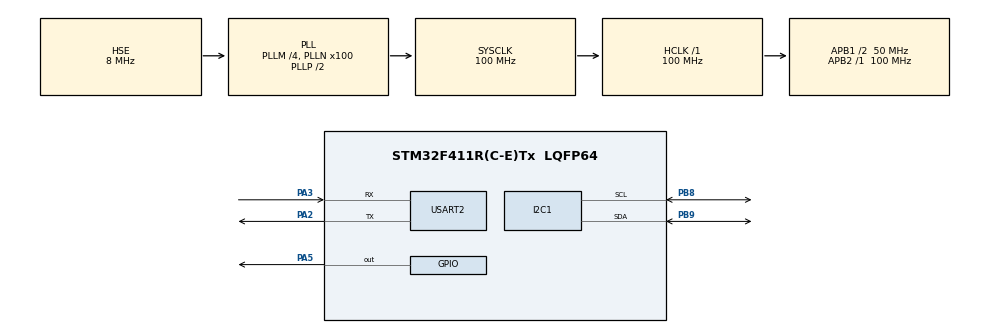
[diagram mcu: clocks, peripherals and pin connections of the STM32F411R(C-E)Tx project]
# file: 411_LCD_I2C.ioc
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Mcu.Family=STM32F4
Mcu.Name=STM32F411R(C-E)Tx
Mcu.Package=LQFP64
NVIC.PriorityGroup=NVIC_PRIORITYGROUP_4
PA2.Mode=Asynchronous
PA2.Signal=USART2_TX
PA3.Mode=Asynchronous
PA3.Signal=USART2_RX
PA5.GPIO_Speed=GPIO_SPEED_FREQ_HIGH
PA5.Signal=GPIO_Output
PB8.Mode=I2C
PB8.Signal=I2C1_SCL
PB9.Mode=I2C
PB9.Signal=I2C1_SDA
PH0\ -\ OSC_IN.Mode=HSE-External-Oscillator
PH0\ -\ OSC_IN.Signal=RCC_OSC_IN
PH1\ -\ OSC_OUT.Mode=HSE-External-Oscillator
PH1\ -\ OSC_OUT.Signal=RCC_OSC_OUT
ProjectManager.HeapSize=0x200
ProjectManager.StackSize=0x400
ProjectManager.TargetToolchain=MDK-ARM V5
RCC.48MHZClocksFreq_Value=50000000
RCC.AHBFreq_Value=100000000
RCC.APB1CLKDivider=RCC_HCLK_DIV2
RCC.APB1Freq_Value=50000000
RCC.APB1TimFreq_Value=100000000
RCC.APB2Freq_Value=100000000
RCC.APB2TimFreq_Value=100000000
RCC.CortexFreq_Value=100000000
RCC.HCLKFreq_Value=100000000
RCC.HSE_VALUE=8000000
RCC.HSI_VALUE=16000000
RCC.LSE_VALUE=32768
RCC.PLLM=4
RCC.PLLN=100
RCC.PLLSourceVirtual=RCC_PLLSOURCE_HSE
RCC.SYSCLKFreq_VALUE=100000000
RCC.SYSCLKSource=RCC_SYSCLKSOURCE_PLLCLK
RCC.VCOOutputFreq_Value=200000000
USART2.VirtualMode=VM_ASYNC
board=411_LCD_I2C

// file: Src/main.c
/* USER CODE BEGIN Header */
/**
  ******************************************************************************
  * @file           : main.c
  * @brief          : Main program body
  ******************************************************************************
  ** This notice applies to any and all portions of this file
  * that are not between comment pairs USER CODE BEGIN and
  * USER CODE END. Other portions of this file, whether
  * inserted by the user or by software development tools
  * are owned by their respective copyright owners.
  *
  * COPYRIGHT(c) 2019 STMicroelectronics
  *
  * Redistribution and use in source and binary forms, with or without modification,
  * are permitted provided that the following conditions are met:
  *   1. Redistributions of source code must retain the above copyright notice,
  *      this list of conditions and the following disclaimer.
  *   2. Redistributions in binary form must reproduce the above copyright notice,
  *      this list of conditions and the following disclaimer in the documentation
  *      and/or other materials provided with the distribution.
  *   3. Neither the name of STMicroelectronics nor the names of its contributors
  *      may be used to endorse or promote products derived from this software
  *      without specific prior written permission.
  *
  * THIS SOFTWARE IS PROVIDED BY THE COPYRIGHT HOLDERS AND CONTRIBUTORS "AS IS"
  * AND ANY EXPRESS OR IMPLIED WARRANTIES, INCLUDING, BUT NOT LIMITED TO, THE
  * IMPLIED WARRANTIES OF MERCHANTABILITY AND FITNESS FOR A PARTICULAR PURPOSE ARE
  * DISCLAIMED. IN NO EVENT SHALL THE COPYRIGHT HOLDER OR CONTRIBUTORS BE LIABLE
  * FOR ANY DIRECT, INDIRECT, INCIDENTAL, SPECIAL, EXEMPLARY, OR CONSEQUENTIAL
  * DAMAGES (INCLUDING, BUT NOT LIMITED TO, PROCUREMENT OF SUBSTITUTE GOODS OR
  * SERVICES; LOSS OF USE, DATA, OR PROFITS; OR BUSINESS INTERRUPTION) HOWEVER
  * CAUSED AND ON ANY THEORY OF LIABILITY, WHETHER IN CONTRACT, STRICT LIABILITY,
  * OR TORT (INCLUDING NEGLIGENCE OR OTHERWISE) ARISING IN ANY WAY OUT OF THE USE
  * OF THIS SOFTWARE, EVEN IF ADVISED OF THE POSSIBILITY OF SUCH DAMAGE.
  *
  ******************************************************************************
  */
/* USER CODE END Header */

#include "main.h"
#include "i2c.h"
#include "usart.h"
#include "gpio.h"

/* USER CODE BEGIN Includes */
#include "i2c-lcd.h"
#include <string.h>
#include <stdio.h>
/* USER CODE END Includes */

/* USER CODE BEGIN PV */
/* Private variables ---------------------------------------------------------*/

/* USER CODE END PV */

void SystemClock_Config(void);
/* USER CODE BEGIN PFP */
/* Private function prototypes -----------------------------------------------*/
void I2C1_ADDR_Chk(void);
/* USER CODE END PFP */

int main(void)
{

  /* MCU Configuration--------------------------------------------------------*/

  /* Reset of all peripherals, Initializes the Flash interface and the Systick. */
  HAL_Init();

  /* Configure the system clock */
  SystemClock_Config();

  /* Initialize all configured peripherals */
  MX_GPIO_Init();
  MX_I2C1_Init();
  MX_USART2_UART_Init();
  /* USER CODE BEGIN 2 */
	I2C1_ADDR_Chk();
	lcd_init ();
	HAL_Delay(500);
	lcd_send_cmd (0x01);  // clear the display
	HAL_Delay(500);

	lcd_send_string ("HELLO WORLD !!");
	HAL_Delay(500);

	lcd_send_cmd (0x01);  // clear the display
	HAL_Delay(500);
  /* USER CODE END 2 */

  /* Infinite loop */
  while (1)
  {

    /* USER CODE BEGIN 3 */
		lcd_send_cmd (0x80);  // cursor goes to line:1 col:1

		lcd_send_string ("subscribe"); //display string

		lcd_send_cmd (0xc0); // cursor goes line:2 col:1

		lcd_send_string ("to this channel"); //diaplay string

		HAL_Delay (2000);  // wait for 2 sec

		lcd_send_cmd (0x01);  // clear the display

		HAL_GPIO_TogglePin(GPIOA, GPIO_PIN_5);

		HAL_Delay (1000);

		//Display Line 1
		for(int i=0; i<=15; i++)
		{
			lcd_send_cmd (0x80+i);
			lcd_send_string ("1");
			HAL_Delay(200);

		}

		//Display Line 2
		for(int i=0; i<=15; i++)
		{

			lcd_send_cmd (0xc0+i);
			lcd_send_string ("2");
			HAL_Delay(200);

		}

		lcd_send_cmd (0x01);  // clear the display
		HAL_Delay(500);

		lcd_send_cmd (0xc0+0xd);
		lcd_send_string ("XYZ");
		HAL_Delay(500);

		//Shift Left
		lcd_send_cmd (0x18);
		HAL_Delay(500);

		//Shift Left
		lcd_send_cmd (0x18);
		HAL_Delay(500);

		//Shift Left
		lcd_send_cmd (0x18);
		HAL_Delay(500);

		//Shift Right
		lcd_send_cmd (0x1c);
		HAL_Delay(500);

		//Shift Right
		lcd_send_cmd (0x1c);
		HAL_Delay(500);

		//Shift Right
		lcd_send_cmd (0x1c);
		HAL_Delay(500);

  }
  /* USER CODE END 3 */
}

void SystemClock_Config(void)
{
  RCC_OscInitTypeDef RCC_OscInitStruct = {0};
  RCC_ClkInitTypeDef RCC_ClkInitStruct = {0};

  /**Configure the main internal regulator output voltage
  */
  __HAL_RCC_PWR_CLK_ENABLE();
  __HAL_PWR_VOLTAGESCALING_CONFIG(PWR_REGULATOR_VOLTAGE_SCALE1);
  /**Initializes the CPU, AHB and APB busses clocks
  */
  RCC_OscInitStruct.OscillatorType = RCC_OSCILLATORTYPE_HSE;
  RCC_OscInitStruct.HSEState = RCC_HSE_ON;
  RCC_OscInitStruct.PLL.PLLState = RCC_PLL_ON;
  RCC_OscInitStruct.PLL.PLLSource = RCC_PLLSOURCE_HSE;
  RCC_OscInitStruct.PLL.PLLM = 4;
  RCC_OscInitStruct.PLL.PLLN = 100;
  RCC_OscInitStruct.PLL.PLLP = RCC_PLLP_DIV2;
  RCC_OscInitStruct.PLL.PLLQ = 4;
  if (HAL_RCC_OscConfig(&RCC_OscInitStruct) != HAL_OK)
  {
    Error_Handler();
  }
  /**Initializes the CPU, AHB and APB busses clocks
  */
  RCC_ClkInitStruct.ClockType = RCC_CLOCKTYPE_HCLK|RCC_CLOCKTYPE_SYSCLK
                              |RCC_CLOCKTYPE_PCLK1|RCC_CLOCKTYPE_PCLK2;
  RCC_ClkInitStruct.SYSCLKSource = RCC_SYSCLKSOURCE_PLLCLK;
  RCC_ClkInitStruct.AHBCLKDivider = RCC_SYSCLK_DIV1;
  RCC_ClkInitStruct.APB1CLKDivider = RCC_HCLK_DIV2;
  RCC_ClkInitStruct.APB2CLKDivider = RCC_HCLK_DIV1;

  if (HAL_RCC_ClockConfig(&RCC_ClkInitStruct, FLASH_LATENCY_3) != HAL_OK)
  {
    Error_Handler();
  }
}

/* USER CODE BEGIN 4 */
/**
  * @brief Check I2C1 slave addresses. Show result via UART2.
  * @param None
  * @retval None
  */
void I2C1_ADDR_Chk(void)
{
	uint8_t testAddr;
	uint8_t testData;
	char str[30];

	for (testAddr=0; testAddr<=127; testAddr++)
	{
		if ( HAL_OK == HAL_I2C_Master_Transmit(&hi2c1, testAddr<<1, &testData, 1, 200))
		{
			sprintf(str, "=====> Address 0x%02X is found. <=====\r\n", testAddr);
			HAL_UART_Transmit(&huart2, (uint8_t *) str, strlen(str), 300);

		}	else {
			sprintf(str, "Address 0x%02X is not found.\r\n", testAddr);
			HAL_UART_Transmit(&huart2, (uint8_t *) str, strlen(str), 300);

		}

		//if slave device is quite slow use HAL_Delay
		//HAL_Delay(200);

	}

}

/* USER CODE END 4 */

void Error_Handler(void)
{
  while(1)
  {
  }
}

/************************ (C) COPYRIGHT STMicroelectronics *****END OF FILE****/
